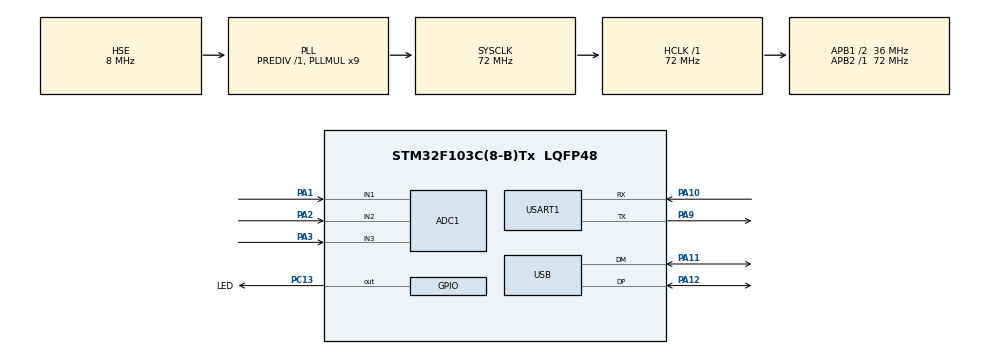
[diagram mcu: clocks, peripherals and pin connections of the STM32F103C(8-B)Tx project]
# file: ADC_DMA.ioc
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ADC1.Channel-0\#ChannelRegularConversion=ADC_CHANNEL_1
ADC1.Channel-1\#ChannelRegularConversion=ADC_CHANNEL_2
ADC1.Channel-2\#ChannelRegularConversion=ADC_CHANNEL_3
ADC1.ExternalTrigConv=ADC_EXTERNALTRIGCONV_T3_TRGO
ADC1.NbrOfConversion=3
ADC1.NbrOfConversionFlag=1
ADC1.Rank-0\#ChannelRegularConversion=1
ADC1.Rank-1\#ChannelRegularConversion=2
ADC1.Rank-2\#ChannelRegularConversion=3
ADC1.SamplingTime-0\#ChannelRegularConversion=ADC_SAMPLETIME_55CYCLES_5
ADC1.SamplingTime-1\#ChannelRegularConversion=ADC_SAMPLETIME_55CYCLES_5
ADC1.SamplingTime-2\#ChannelRegularConversion=ADC_SAMPLETIME_55CYCLES_5
ADC1.master=1
Dma.ADC1.0.Direction=DMA_PERIPH_TO_MEMORY
Dma.ADC1.0.Instance=DMA1_Channel1
Dma.ADC1.0.MemDataAlignment=DMA_MDATAALIGN_WORD
Dma.ADC1.0.MemInc=DMA_MINC_ENABLE
Dma.ADC1.0.Mode=DMA_CIRCULAR
Dma.ADC1.0.PeriphDataAlignment=DMA_PDATAALIGN_WORD
Dma.ADC1.0.PeriphInc=DMA_PINC_DISABLE
Dma.ADC1.0.Priority=DMA_PRIORITY_MEDIUM
Dma.Request0=ADC1
Mcu.Family=STM32F1
Mcu.Name=STM32F103C(8-B)Tx
Mcu.Package=LQFP48
NVIC.DMA1_Channel1_IRQn=true\:0\:0\:false\:false\:true\:false\:true
NVIC.PriorityGroup=NVIC_PRIORITYGROUP_4
NVIC.USB_LP_CAN1_RX0_IRQn=true\:0\:0\:false\:false\:true\:false\:true
PA1.Signal=ADCx_IN1
PA10.Mode=Asynchronous
PA10.Signal=USART1_RX
PA11.Mode=Device
PA11.Signal=USB_DM
PA12.Mode=Device
PA12.Signal=USB_DP
PA13.Mode=Serial_Wire
PA13.Signal=SYS_JTMS-SWDIO
PA14.Mode=Serial_Wire
PA14.Signal=SYS_JTCK-SWCLK
PA2.Signal=ADCx_IN2
PA3.Signal=ADCx_IN3
PA9.Mode=Asynchronous
PA9.Signal=USART1_TX
PC13-TAMPER-RTC.GPIO_Label=LED
PC13-TAMPER-RTC.Signal=GPIO_Output
PD0-OSC_IN.Mode=HSE-External-Oscillator
PD0-OSC_IN.Signal=RCC_OSC_IN
PD1-OSC_OUT.Mode=HSE-External-Oscillator
PD1-OSC_OUT.Signal=RCC_OSC_OUT
ProjectManager.HeapSize=0x200
ProjectManager.StackSize=0x400
ProjectManager.TargetToolchain=STM32CubeIDE
RCC.ADCPresc=RCC_ADCPCLK2_DIV8
RCC.AHBFreq_Value=72000000
RCC.APB1CLKDivider=RCC_HCLK_DIV2
RCC.APB1Freq_Value=36000000
RCC.APB1TimFreq_Value=72000000
RCC.APB2Freq_Value=72000000
RCC.APB2TimFreq_Value=72000000
RCC.HCLKFreq_Value=72000000
RCC.PLLMUL=RCC_PLL_MUL9
RCC.SYSCLKFreq_VALUE=72000000
RCC.SYSCLKSource=RCC_SYSCLKSOURCE_PLLCLK
RCC.USBFreq_Value=48000000
RCC.USBPrescaler=RCC_USBCLKSOURCE_PLL_DIV1_5
SH.ADCx_IN1.0=ADC1_IN1,IN1
SH.ADCx_IN2.0=ADC1_IN2,IN2
SH.ADCx_IN3.0=ADC1_IN3,IN3
TIM3.AutoReloadPreload=TIM_AUTORELOAD_PRELOAD_ENABLE
TIM3.Period=1000
TIM3.Prescaler=7200
TIM3.TIM_MasterOutputTrigger=TIM_TRGO_UPDATE
USART1.VirtualMode=VM_ASYNC
USB_DEVICE.CLASS_NAME_FS=CDC
USB_DEVICE.MANUFACTURER_STRING=Onat_DAQ
USB_DEVICE.PRODUCT_STRING_CDC_FS=Onat Virtual ComPort
USB_DEVICE.VirtualMode=Cdc
USB_DEVICE.VirtualModeFS=Cdc_FS
VP_TIM3_VS_ClockSourceINT.Mode=Internal
VP_USB_DEVICE_VS_USB_DEVICE_CDC_FS.Mode=CDC_FS
board=custom

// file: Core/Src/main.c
/* USER CODE BEGIN Header */
/**
 ******************************************************************************
 * @file           : main.c
 * @brief          : Main program body
 ******************************************************************************
 * @attention
 *
 * Copyright (c) 2021 STMicroelectronics.
 * All rights reserved.
 *
 * This software is licensed under terms that can be found in the LICENSE file
 * in the root directory of this software component.
 * If no LICENSE file comes with this software, it is provided AS-IS.
 *
 ******************************************************************************
 */
/* USER CODE END Header */
#include "main.h"
#include "stm32f1xx_hal.h"
#include "usb_device.h"

/* USER CODE BEGIN Includes */
#include "usbd_cdc_if.h"     //AO!
#include <stdio.h>           //AO!:To be modified.

#define LED_ON()   HAL_GPIO_WritePin(GPIOC, GPIO_PIN_13, GPIO_PIN_RESET)
#define LED_OFF()  HAL_GPIO_WritePin(GPIOC, GPIO_PIN_13, GPIO_PIN_SET)

ADC_HandleTypeDef hadc1;
DMA_HandleTypeDef hdma_adc1;

TIM_HandleTypeDef htim3;

UART_HandleTypeDef huart1;

/* USER CODE BEGIN PV */
#define ADC_BUFLEN 4
uint32_t adcBuf[ADC_BUFLEN];   //For ADC samples.

uint8_t ADC_FLAG;
#define TRUE 1
#define FALSE 0
/* USER CODE END PV */

void SystemClock_Config(void);
static void MX_GPIO_Init(void);
static void MX_DMA_Init(void);
static void MX_ADC1_Init(void);
static void MX_TIM3_Init(void);
static void MX_USART1_UART_Init(void);

/* USER CODE BEGIN 0 */
float temp1, temp2, temp3, temp4, cel1, cel2, cel3, cel4;
/* USER CODE END 0 */

int main(void) {
	/* USER CODE BEGIN 1 */
	int i;                //AO!
	char msgbuf[128];
	/* USER CODE END 1 */

	/* MCU Configuration--------------------------------------------------------*/

	/* Reset of all peripherals, Initializes the Flash interface and the Systick. */
	HAL_Init();

	/* Configure the system clock */
	SystemClock_Config();

	/* Initialize all configured peripherals */
	MX_GPIO_Init();
	MX_DMA_Init();
	MX_USB_DEVICE_Init();
	MX_ADC1_Init();
	MX_TIM3_Init();
	MX_USART1_UART_Init();
	/* USER CODE BEGIN 2 */
	ADC_FLAG = FALSE;

	i = 0;
	LED_ON();

	HAL_Delay(500);
	LED_OFF();

	HAL_Delay(500);
	HAL_TIM_Base_Start(&htim3); //AO!: Start the timer.

	//The link between hadc1 and hdma_adc1 was completed in stm32f1xx_hal_msp.c:
	HAL_ADC_Start_DMA(&hadc1, adcBuf, ADC_BUFLEN); //Link DMA to ADC1
	/* USER CODE END 2 */

	/* Infinite loop */
	while (1) {
		if (ADC_FLAG == TRUE) {
			ADC_FLAG = FALSE;
			++i;
			LED_ON();  //After ADC has been completed.

			sprintf(msgbuf, "%d: ADC1=%d,  cel1=%d,ADC4=%d \r\n", i,
					(int) adcBuf[0],  (int) cel1, (int) cel4);
			HAL_UART_Transmit(&huart1, msgbuf, strlen(msgbuf), HAL_MAX_DELAY);

			LED_OFF();

		}
	}
}

void SystemClock_Config(void) {
	RCC_OscInitTypeDef RCC_OscInitStruct = { 0 };
	RCC_ClkInitTypeDef RCC_ClkInitStruct = { 0 };
	RCC_PeriphCLKInitTypeDef PeriphClkInit = { 0 };

	/** Initializes the RCC Oscillators according to the specified parameters
	 * in the RCC_OscInitTypeDef structure.
	 */
	RCC_OscInitStruct.OscillatorType = RCC_OSCILLATORTYPE_HSE;
	RCC_OscInitStruct.HSEState = RCC_HSE_ON;
	RCC_OscInitStruct.HSEPredivValue = RCC_HSE_PREDIV_DIV1;
	RCC_OscInitStruct.HSIState = RCC_HSI_ON;
	RCC_OscInitStruct.PLL.PLLState = RCC_PLL_ON;
	RCC_OscInitStruct.PLL.PLLSource = RCC_PLLSOURCE_HSE;
	RCC_OscInitStruct.PLL.PLLMUL = RCC_PLL_MUL9;
	if (HAL_RCC_OscConfig(&RCC_OscInitStruct) != HAL_OK) {
		Error_Handler();
	}
	/** Initializes the CPU, AHB and APB buses clocks
	 */
	RCC_ClkInitStruct.ClockType = RCC_CLOCKTYPE_HCLK | RCC_CLOCKTYPE_SYSCLK
			| RCC_CLOCKTYPE_PCLK1 | RCC_CLOCKTYPE_PCLK2;
	RCC_ClkInitStruct.SYSCLKSource = RCC_SYSCLKSOURCE_PLLCLK;
	RCC_ClkInitStruct.AHBCLKDivider = RCC_SYSCLK_DIV1;
	RCC_ClkInitStruct.APB1CLKDivider = RCC_HCLK_DIV2;
	RCC_ClkInitStruct.APB2CLKDivider = RCC_HCLK_DIV1;

	if (HAL_RCC_ClockConfig(&RCC_ClkInitStruct, FLASH_LATENCY_2) != HAL_OK) {
		Error_Handler();
	}
	PeriphClkInit.PeriphClockSelection = RCC_PERIPHCLK_ADC | RCC_PERIPHCLK_USB;
	PeriphClkInit.AdcClockSelection = RCC_ADCPCLK2_DIV8;
	PeriphClkInit.UsbClockSelection = RCC_USBCLKSOURCE_PLL_DIV1_5;
	if (HAL_RCCEx_PeriphCLKConfig(&PeriphClkInit) != HAL_OK) {
		Error_Handler();
	}
}

static void MX_ADC1_Init(void) {

	ADC_ChannelConfTypeDef sConfig = { 0 };

	/** Common config
	 */
	hadc1.Instance = ADC1;
	hadc1.Init.ScanConvMode = ADC_SCAN_ENABLE;
	hadc1.Init.ContinuousConvMode = DISABLE;
	hadc1.Init.DiscontinuousConvMode = DISABLE;
	hadc1.Init.ExternalTrigConv = ADC_EXTERNALTRIGCONV_T3_TRGO;
	hadc1.Init.DataAlign = ADC_DATAALIGN_RIGHT;
	hadc1.Init.NbrOfConversion = 4;
	if (HAL_ADC_Init(&hadc1) != HAL_OK) {
		Error_Handler();
	}
	/** Configure Regular Channel
	 */
	sConfig.Channel = ADC_CHANNEL_1;
	sConfig.Rank = ADC_REGULAR_RANK_1;
	sConfig.SamplingTime = ADC_SAMPLETIME_55CYCLES_5;
	if (HAL_ADC_ConfigChannel(&hadc1, &sConfig) != HAL_OK) {
		Error_Handler();
	}
	/** Configure Regular Channel
	 */
	sConfig.Channel = ADC_CHANNEL_2;
	sConfig.Rank = ADC_REGULAR_RANK_2;
	if (HAL_ADC_ConfigChannel(&hadc1, &sConfig) != HAL_OK) {
		Error_Handler();
	}
	/** Configure Regular Channel
	 */
	sConfig.Channel = ADC_CHANNEL_3;
	sConfig.Rank = ADC_REGULAR_RANK_3;
	if (HAL_ADC_ConfigChannel(&hadc1, &sConfig) != HAL_OK) {
		Error_Handler();
	}
	sConfig.Channel = ADC_CHANNEL_4;
	sConfig.Rank = ADC_REGULAR_RANK_4;
	if (HAL_ADC_ConfigChannel(&hadc1, &sConfig) != HAL_OK) {
		Error_Handler();
	}

}

static void MX_TIM3_Init(void) {

	TIM_ClockConfigTypeDef sClockSourceConfig = { 0 };
	TIM_MasterConfigTypeDef sMasterConfig = { 0 };

	htim3.Instance = TIM3;
	htim3.Init.Prescaler = 7200;
	htim3.Init.CounterMode = TIM_COUNTERMODE_UP;
	htim3.Init.Period = 1000;
	htim3.Init.ClockDivision = TIM_CLOCKDIVISION_DIV1;
	htim3.Init.AutoReloadPreload = TIM_AUTORELOAD_PRELOAD_ENABLE;
	if (HAL_TIM_Base_Init(&htim3) != HAL_OK) {
		Error_Handler();
	}
	sClockSourceConfig.ClockSource = TIM_CLOCKSOURCE_INTERNAL;
	if (HAL_TIM_ConfigClockSource(&htim3, &sClockSourceConfig) != HAL_OK) {
		Error_Handler();
	}
	sMasterConfig.MasterOutputTrigger = TIM_TRGO_UPDATE;
	sMasterConfig.MasterSlaveMode = TIM_MASTERSLAVEMODE_DISABLE;
	if (HAL_TIMEx_MasterConfigSynchronization(&htim3, &sMasterConfig)
			!= HAL_OK) {
		Error_Handler();
	}

}
void HAL_ADC_ConvCpltCallback(ADC_HandleTypeDef *hadc1) {

	ADC_FLAG = TRUE;
}

static void MX_USART1_UART_Init(void) {

	huart1.Instance = USART1;
	huart1.Init.BaudRate = 115200;
	huart1.Init.WordLength = UART_WORDLENGTH_8B;
	huart1.Init.StopBits = UART_STOPBITS_1;
	huart1.Init.Parity = UART_PARITY_NONE;
	huart1.Init.Mode = UART_MODE_TX_RX;
	huart1.Init.HwFlowCtl = UART_HWCONTROL_NONE;
	huart1.Init.OverSampling = UART_OVERSAMPLING_16;
	if (HAL_UART_Init(&huart1) != HAL_OK) {
		Error_Handler();
	}

}

static void MX_DMA_Init(void) {

	/* DMA controller clock enable */
	__HAL_RCC_DMA1_CLK_ENABLE();

	/* DMA interrupt init */
	/* DMA1_Channel1_IRQn interrupt configuration */
	HAL_NVIC_SetPriority(DMA1_Channel1_IRQn, 0, 0);
	HAL_NVIC_EnableIRQ(DMA1_Channel1_IRQn);

}

static void MX_GPIO_Init(void) {
	GPIO_InitTypeDef GPIO_InitStruct = { 0 };

	/* GPIO Ports Clock Enable */
	__HAL_RCC_GPIOC_CLK_ENABLE();
	__HAL_RCC_GPIOD_CLK_ENABLE();
	__HAL_RCC_GPIOA_CLK_ENABLE();

	/*Configure GPIO pin Output Level */
	HAL_GPIO_WritePin(LED_GPIO_Port, LED_Pin, GPIO_PIN_RESET);

	/*Configure GPIO pin : LED_Pin */
	GPIO_InitStruct.Pin = LED_Pin;
	GPIO_InitStruct.Mode = GPIO_MODE_OUTPUT_PP;
	GPIO_InitStruct.Pull = GPIO_NOPULL;
	GPIO_InitStruct.Speed = GPIO_SPEED_FREQ_LOW;
	HAL_GPIO_Init(LED_GPIO_Port, &GPIO_InitStruct);

}

void Error_Handler(void) {
	__disable_irq();
	while (1) {
	}
}
